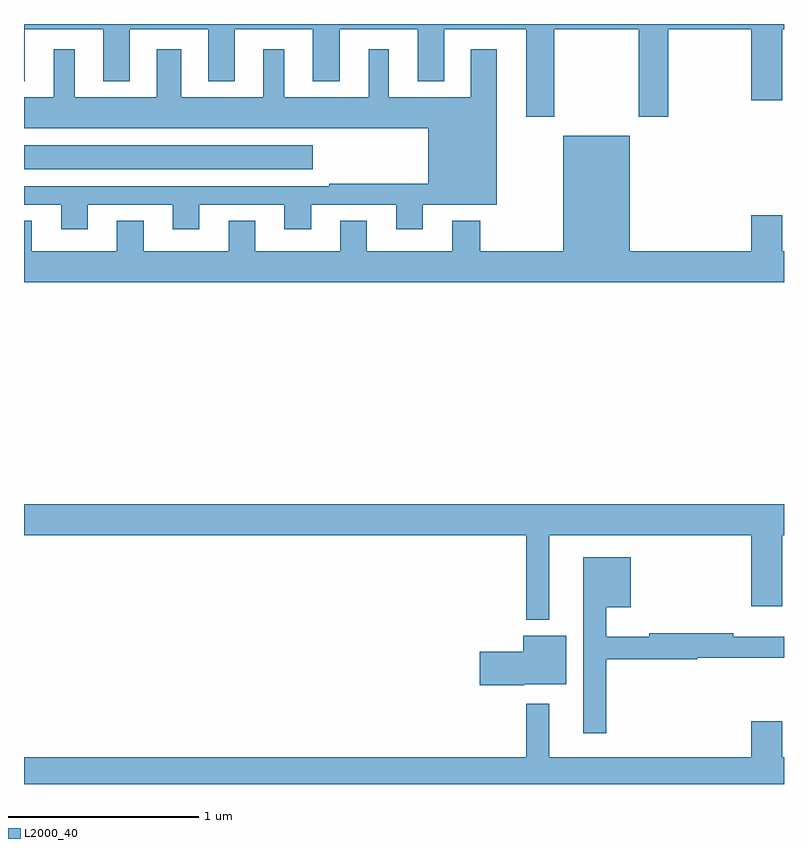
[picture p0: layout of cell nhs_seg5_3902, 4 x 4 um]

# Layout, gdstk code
import gdstk
lib = gdstk.Library(unit=1e-6, precision=1e-09)
def R(c, l, rs):  # rectangles x0, y0, x1, y1
    for r in rs: c.add(gdstk.rectangle(r[:2], r[2:], *l))
def P(c, l, *ps):  # polygons
    for p in ps: c.add(gdstk.Polygon(p, *l))
L2000_40 = (2000, 40)

nhs_seg5_3902 = lib.new_cell('nhs_seg5_3902')
R(nhs_seg5_3902, L2000_40, [(341,844.034,342.52,844.162)])
P(nhs_seg5_3902, L2000_40, [(341,844.499),(341.005,844.499),(341.005,844.772),(341.417,844.772),(341.417,844.499),(341.557,844.499),(341.557,844.772),(341.969,844.772),(341.969,844.499),(342.109,844.499),(342.109,844.772),(342.521,844.772),(342.521,844.499),(342.661,844.499),(342.661,844.772),(343.073,844.772),(343.073,844.499),(343.213,844.499),(343.213,844.772),(343.643,844.772),(343.643,844.311),(343.791,844.311),(343.791,844.772),(344.236,844.772),(344.236,844.311),(344.391,844.311),(344.391,844.772),(344.828,844.772),(344.828,844.398),(344.992,844.398),(344.992,844.772),(345,844.772),(345,844.799),(341,844.799)],
  [(341.335,843.849),(341.783,843.849),(341.783,843.72),(341.923,843.72),(341.923,843.849),(342.371,843.849),(342.371,843.72),(342.511,843.72),(342.511,843.849),(342.959,843.849),(342.959,843.72),(343.099,843.72),(343.099,843.848),(343.489,843.848),(343.489,844.666),(343.352,844.666),(343.352,844.414),(342.919,844.414),(342.919,844.666),(342.815,844.666),(342.815,844.414),(342.37,844.414),(342.37,844.666),(342.26,844.666),(342.26,844.414),(341.827,844.414),(341.827,844.666),(341.699,844.666),(341.699,844.414),(341.266,844.414),(341.266,844.666),(341.156,844.666),(341.156,844.414),(341,844.414),(341,844.25),(343.127,844.25),(343.127,843.958),(342.607,843.958),(342.607,843.945),(341,843.945),(341,843.849),(341.195,843.849),(341.195,843.72),(341.335,843.72)],
  [(345,843.604),(344.992,843.604),(344.992,843.793),(344.828,843.793),(344.828,843.604),(344.188,843.604),(344.188,844.21),(343.838,844.21),(343.838,843.604),(343.401,843.604),(343.401,843.763),(343.253,843.763),(343.253,843.604),(342.805,843.604),(342.805,843.764),(342.665,843.764),(342.665,843.604),(342.217,843.604),(342.217,843.764),(342.077,843.764),(342.077,843.604),(341.629,843.604),(341.629,843.764),(341.489,843.764),(341.489,843.604),(341.041,843.604),(341.041,843.764),(341,843.764),(341,843.44),(345,843.44)],
  [(343.765,842.108),(344.828,842.108),(344.828,841.734),(344.992,841.734),(344.992,842.108),(345,842.108),(345,842.272),(341,842.272),(341,842.108),(343.644,842.108),(343.644,841.664),(343.765,841.664)],
  [(344.065,841.456),(344.543,841.456),(344.543,841.464),(345,841.464),(345,841.573),(344.732,841.573),(344.732,841.592),(344.29,841.592),(344.29,841.573),(344.065,841.573),(344.065,841.73),(344.194,841.73),(344.194,841.993),(343.943,841.993),(343.943,841.065),(344.065,841.065)],
  [(343.632,841.325),(343.855,841.325),(343.855,841.579),(343.628,841.579),(343.628,841.496),(343.398,841.496),(343.398,841.318),(343.632,841.318)],
  [(345,840.94),(344.992,840.94),(344.992,841.129),(344.828,841.129),(344.828,840.94),(343.765,840.94),(343.765,841.222),(343.644,841.222),(343.644,840.94),(341,840.94),(341,840.799),(345,840.799)])

lib.write_gds('nhs_seg5_3902.gds')
